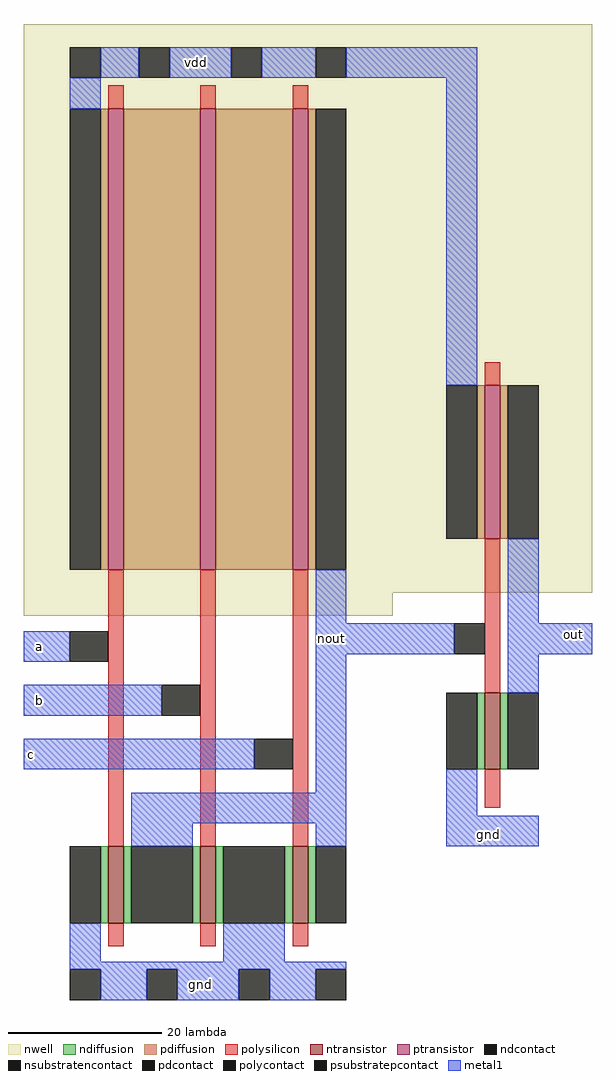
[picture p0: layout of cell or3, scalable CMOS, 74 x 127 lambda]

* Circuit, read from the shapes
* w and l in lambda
.subckt or3 a b c gnd nout out vdd
M1 nout a gnd gnd nfet w=10 l=2
M2 gnd b nout gnd nfet w=10 l=2
M3 nout c gnd gnd nfet w=10 l=2
M4 out nout gnd gnd nfet w=10 l=2
M5 n1 a vdd vdd pfet w=60 l=2
M6 n2 b n1 vdd pfet w=60 l=2
M7 nout c n2 vdd pfet w=60 l=2
M8 out nout vdd vdd pfet w=20 l=2
.ends

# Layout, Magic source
magic
tech scmos
<< nwell >>
rect -22 -26 52 48
rect -22 -29 26 -26
<< ntransistor >>
rect 38 -49 40 -39
rect -11 -69 -9 -59
rect 1 -69 3 -59
rect 13 -69 15 -59
<< ptransistor >>
rect -11 -23 -9 37
rect 1 -23 3 37
rect 13 -23 15 37
rect 38 -19 40 1
<< ndiffusion >>
rect 37 -49 38 -39
rect 40 -49 41 -39
rect -12 -69 -11 -59
rect -9 -69 -8 -59
rect 0 -69 1 -59
rect 3 -69 4 -59
rect 12 -69 13 -59
rect 15 -69 16 -59
<< pdiffusion >>
rect -12 -23 -11 37
rect -9 -23 1 37
rect 3 -23 13 37
rect 15 -23 16 37
rect 37 -19 38 1
rect 40 -19 41 1
<< ndcontact >>
rect 33 -49 37 -39
rect 41 -49 45 -39
rect -16 -69 -12 -59
rect -8 -69 0 -59
rect 4 -69 12 -59
rect 16 -69 20 -59
<< pdcontact >>
rect -16 -23 -12 37
rect 16 -23 20 37
rect 33 -19 37 1
rect 41 -19 45 1
<< psubstratepcontact >>
rect -16 -79 -12 -75
rect -6 -79 -2 -75
rect 6 -79 10 -75
rect 16 -79 20 -75
<< nsubstratencontact >>
rect -16 41 -12 45
rect -7 41 -3 45
rect 5 41 9 45
rect 16 41 20 45
<< polysilicon >>
rect -11 37 -9 40
rect 1 37 3 40
rect 13 37 15 40
rect 38 1 40 4
rect -11 -59 -9 -23
rect 1 -59 3 -23
rect 13 -59 15 -23
rect 38 -39 40 -19
rect 38 -54 40 -49
rect -11 -72 -9 -69
rect 1 -72 3 -69
rect 13 -72 15 -69
<< polycontact >>
rect -16 -35 -11 -31
rect -4 -42 1 -38
rect 8 -49 13 -45
rect 34 -34 38 -30
<< metal1 >>
rect -12 41 -7 45
rect -3 41 5 45
rect 9 41 16 45
rect 20 41 37 45
rect -16 37 -12 41
rect 33 1 37 41
rect 16 -30 20 -23
rect 41 -30 45 -19
rect -22 -35 -16 -31
rect 16 -34 34 -30
rect 41 -34 52 -30
rect -22 -42 -4 -38
rect -22 -49 8 -45
rect 16 -52 20 -34
rect 41 -39 45 -34
rect -8 -56 20 -52
rect -8 -59 0 -56
rect 16 -59 20 -56
rect 33 -55 37 -49
rect 33 -59 45 -55
rect -16 -74 -12 -69
rect 4 -74 12 -69
rect -16 -75 20 -74
rect -12 -79 -6 -75
rect -2 -79 6 -75
rect 10 -79 16 -75
<< labels >>
rlabel metal1 -22 -48 -20 -46 3 c
rlabel metal1 -21 -41 -19 -39 3 b
rlabel metal1 -21 -34 -19 -32 3 a
rlabel metal1 47 -32 52 -31 7 out
rlabel metal1 36 -58 41 -57 1 gnd
rlabel metal1 -1 42 2 44 5 vdd
rlabel metal1 17 -33 19 -31 1 nout
rlabel metal1 0 -78 2 -76 1 gnd
<< end >>
